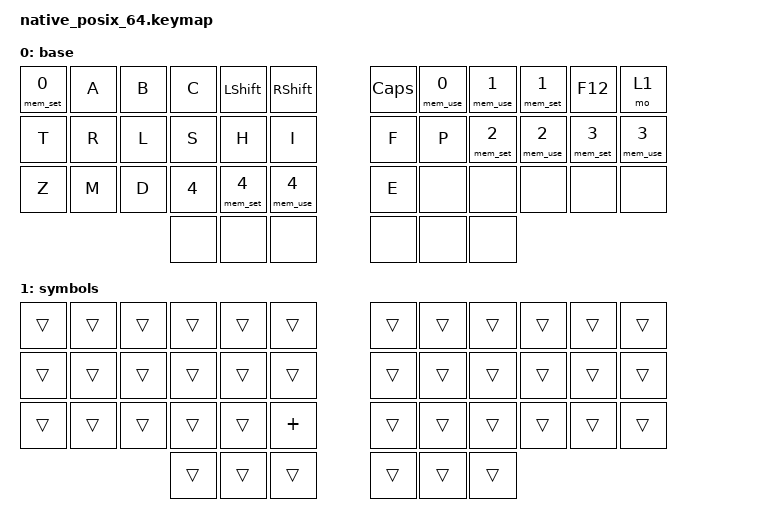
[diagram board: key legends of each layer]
#include <behaviors.dtsi>
#include <dt-bindings/zmk/keys.h>
#include <dt-bindings/zmk/kscan_mock.h>

/ {
    behaviors {
        mem_set: memset {
            compatible = "zmk,behavior-toucan-memory-set";
            #binding-cells = <1>;
        };
        mem_use: memuse {
            compatible = "zmk,behavior-toucan-memory-use";
            #binding-cells = <1>;
        };
    };

    keymap {
        compatible = "zmk,keymap";
        base {
            bindings = <
                &mem_set 0 &kp A &kp B &kp C &kp LSHFT &kp RSHFT &kp CAPS &mem_use 0 &mem_use 1 &mem_set 1 &kp F12 &mo 1
                &kp T &kp R &kp L &kp S &kp H &kp I &kp F &kp P &mem_set 2 &mem_use 2 &mem_set 3 &mem_use 3
                &kp Z &kp M &kp D &kp N4 &mem_set 4 &mem_use 4 &kp E &none &none &none &none &none
                &none &none &none &none &none &none
            >;
        };
        symbols {
            bindings = <
                &trans &trans &trans &trans &trans &trans &trans &trans &trans &trans &trans &trans
                &trans &trans &trans &trans &trans &trans &trans &trans &trans &trans &trans &trans
                &trans &trans &trans &trans &trans &kp PLUS &trans &trans &trans &trans &trans &trans
                &trans &trans &trans &trans &trans &trans
            >;
        };
    };
};

/* a, Shift+A/B, c, Caps+A, Caps+RightShift+A, then restore Caps: "aABcAa". */
#define MIXED_CASE_EVENTS                                                                      \
    ZMK_MOCK_PRESS(0,1,10) ZMK_MOCK_RELEASE(0,1,10)                                              \
    ZMK_MOCK_PRESS(0,4,10)                                                                     \
    ZMK_MOCK_PRESS(0,1,10) ZMK_MOCK_RELEASE(0,1,10)                                              \
    ZMK_MOCK_PRESS(0,2,10) ZMK_MOCK_RELEASE(0,2,10)                                              \
    ZMK_MOCK_RELEASE(0,4,10)                                                                   \
    ZMK_MOCK_PRESS(0,3,10) ZMK_MOCK_RELEASE(0,3,10)                                              \
    ZMK_MOCK_PRESS(0,6,10) ZMK_MOCK_RELEASE(0,6,10)                                              \
    ZMK_MOCK_PRESS(0,1,10) ZMK_MOCK_RELEASE(0,1,10)                                              \
    ZMK_MOCK_PRESS(0,5,10)                                                                     \
    ZMK_MOCK_PRESS(0,1,10) ZMK_MOCK_RELEASE(0,1,10)                                              \
    ZMK_MOCK_RELEASE(0,5,10)                                                                   \
    ZMK_MOCK_PRESS(0,6,10) ZMK_MOCK_RELEASE(0,6,10)

#define TAP(position) ZMK_MOCK_PRESS(0,position,10) ZMK_MOCK_RELEASE(0,position,10)
#define CTRL_NAME TAP(3) TAP(12) TAP(13) TAP(14)
#define SHIFT_NAME TAP(15) TAP(16) TAP(17) TAP(18) TAP(12)
#define CMD_NAME TAP(3) TAP(25) TAP(26)
#define DEL_NAME TAP(26) TAP(30) TAP(14)
#define Z8 TAP(24) TAP(24) TAP(24) TAP(24) TAP(24) TAP(24) TAP(24) TAP(24)
#define SYM_PLUS ZMK_MOCK_PRESS(0,11,20) TAP(29) ZMK_MOCK_RELEASE(0,11,20)

&kscan {
    rows = <1>;
    columns = <42>;
    events = <
        /* Slot 0: enter capture, use the real SYS single tap to select TEXT. */
        ZMK_MOCK_PRESS(0,0,20) ZMK_MOCK_RELEASE(0,0,100)
        ZMK_MOCK_PRESS(0,36,20) ZMK_MOCK_RELEASE(0,36,350)
        MIXED_CASE_EVENTS
        CTRL_NAME DEL_NAME /* TEXT must keep both names literal. */
        ZMK_MOCK_PRESS(0,36,650) ZMK_MOCK_RELEASE(0,36,100)
        ZMK_MOCK_PRESS(0,7,20) ZMK_MOCK_RELEASE(0,7,600)

        /* Slot 1: default SEQ mode; record and replay the same physical keys. */
        ZMK_MOCK_PRESS(0,9,20) ZMK_MOCK_RELEASE(0,9,100)
        MIXED_CASE_EVENTS
        ZMK_MOCK_PRESS(0,36,650) ZMK_MOCK_RELEASE(0,36,100)
        ZMK_MOCK_PRESS(0,8,20) ZMK_MOCK_RELEASE(0,8,600)

        /* Slot 2: named shortcuts and Delete taps, followed by an unmodified a. */
        ZMK_MOCK_PRESS(0,20,20) ZMK_MOCK_RELEASE(0,20,100)
        CTRL_NAME SHIFT_NAME TAP(19)
        CTRL_NAME TAP(15)
        DEL_NAME
        CMD_NAME DEL_NAME
        SHIFT_NAME CMD_NAME DEL_NAME
        TAP(1)
        ZMK_MOCK_PRESS(0,36,650) ZMK_MOCK_RELEASE(0,36,100)
        ZMK_MOCK_PRESS(0,21,20) ZMK_MOCK_RELEASE(0,21,600)

        /* Overflow cannot be saved. Cancel and start a fresh slot-3 capture. */
        ZMK_MOCK_PRESS(0,22,20) ZMK_MOCK_RELEASE(0,22,100)
        Z8 Z8 Z8 Z8 TAP(24)
        ZMK_MOCK_PRESS(0,36,650) ZMK_MOCK_RELEASE(0,36,100)
        ZMK_MOCK_PRESS(0,36,20) ZMK_MOCK_RELEASE(0,36,50)
        ZMK_MOCK_PRESS(0,36,20) ZMK_MOCK_RELEASE(0,36,350)
        ZMK_MOCK_PRESS(0,22,20) ZMK_MOCK_RELEASE(0,22,100)
        CTRL_NAME /* A modifier-only prefix is a balanced Ctrl tap on save. */
        ZMK_MOCK_PRESS(0,36,650) ZMK_MOCK_RELEASE(0,36,100)
        ZMK_MOCK_PRESS(0,23,20) ZMK_MOCK_RELEASE(0,23,600)

        /* Slot 4: named Shift stays explicit; the symbol layer's Shift stays implicit. */
        ZMK_MOCK_PRESS(0,28,20) ZMK_MOCK_RELEASE(0,28,100)
        SHIFT_NAME CMD_NAME TAP(27)
        CMD_NAME SHIFT_NAME TAP(27)
        SYM_PLUS
        CMD_NAME SYM_PLUS
        SHIFT_NAME CMD_NAME SYM_PLUS
        ZMK_MOCK_PRESS(0,36,650) ZMK_MOCK_RELEASE(0,36,100)
        ZMK_MOCK_PRESS(0,29,20) ZMK_MOCK_RELEASE(0,29,600)

        /* Sentinel asks the assertion listener to verify all complete replays. */
        ZMK_MOCK_PRESS(0,10,20) ZMK_MOCK_RELEASE(0,10,100)
    >;
};
